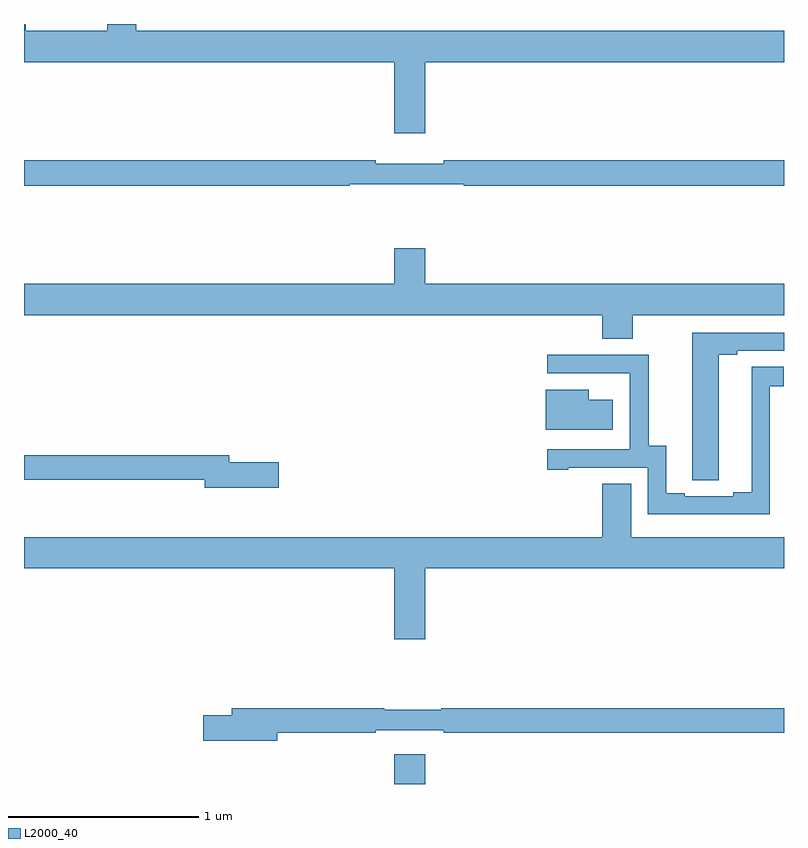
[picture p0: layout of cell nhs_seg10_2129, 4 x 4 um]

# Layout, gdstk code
import gdstk
lib = gdstk.Library(unit=1e-6, precision=1e-09)
def R(c, l, rs):  # rectangles x0, y0, x1, y1
    for r in rs: c.add(gdstk.rectangle(r[:2], r[2:], *l))
def P(c, l, *ps):  # polygons
    for p in ps: c.add(gdstk.Polygon(p, *l))
L2000_40 = (2000, 40)

nhs_seg10_2129 = lib.new_cell('nhs_seg10_2129')
R(nhs_seg10_2129, L2000_40, [(224.948,1312.5,225.112,1312.657)])
P(nhs_seg10_2129, L2000_40, [(225.112,1316.3),(227,1316.3),(227,1316.464),(223.592,1316.464),(223.592,1316.5),(223.439,1316.5),(223.439,1316.464),(223.009,1316.464),(223.009,1316.5),(223,1316.5),(223,1316.3),(224.948,1316.3),(224.948,1315.926),(225.112,1315.926)],
  [(224.714,1315.656),(225.314,1315.656),(225.314,1315.648),(227,1315.648),(227,1315.784),(225.208,1315.784),(225.208,1315.765),(224.852,1315.765),(224.852,1315.784),(223,1315.784),(223,1315.648),(224.714,1315.648)],
  [(226.203,1314.968),(227,1314.968),(227,1315.132),(225.112,1315.132),(225.112,1315.321),(224.948,1315.321),(224.948,1315.132),(223,1315.132),(223,1314.968),(226.043,1314.968),(226.043,1314.844),(226.203,1314.844)],
  [(226.657,1314.76),(226.753,1314.76),(226.753,1314.78),(227,1314.78),(227,1314.876),(226.517,1314.876),(226.517,1314.208),(226.518,1314.208),(226.518,1314.1),(226.657,1314.1)],
  [(226.926,1314.594),(226.999,1314.594),(226.999,1314.695),(226.829,1314.695),(226.829,1314.035),(226.733,1314.035),(226.733,1314.015),(226.477,1314.015),(226.477,1314.03),(226.381,1314.03),(226.381,1314.281),(226.287,1314.281),(226.287,1314.759),(225.753,1314.759),(225.753,1314.663),(226.187,1314.663),(226.187,1314.662),(226.188,1314.662),(226.188,1314.261),(225.753,1314.261),(225.753,1314.153),(225.865,1314.153),(225.865,1314.165),(226.284,1314.165),(226.284,1313.919),(226.926,1313.919)],
  [(226.099,1314.523),(225.973,1314.523),(225.973,1314.574),(225.746,1314.574),(225.746,1314.365),(226.099,1314.365)],
  [(224.341,1314.194),(224.08,1314.194),(224.08,1314.23),(223,1314.23),(223,1314.102),(223.952,1314.102),(223.952,1314.059),(224.341,1314.059)],
  [(225.112,1313.636),(227,1313.636),(227,1313.8),(226.195,1313.8),(226.195,1314.08),(226.043,1314.08),(226.043,1313.8),(223,1313.8),(223,1313.636),(224.948,1313.636),(224.948,1313.262),(225.112,1313.262)],
  [(224.332,1312.77),(224.852,1312.77),(224.852,1312.782),(225.208,1312.782),(225.208,1312.77),(227,1312.77),(227,1312.898),(225.197,1312.898),(225.197,1312.891),(224.897,1312.891),(224.897,1312.898),(224.093,1312.898),(224.093,1312.862),(223.944,1312.862),(223.944,1312.727),(224.332,1312.727)])

lib.write_gds('nhs_seg10_2129.gds')
